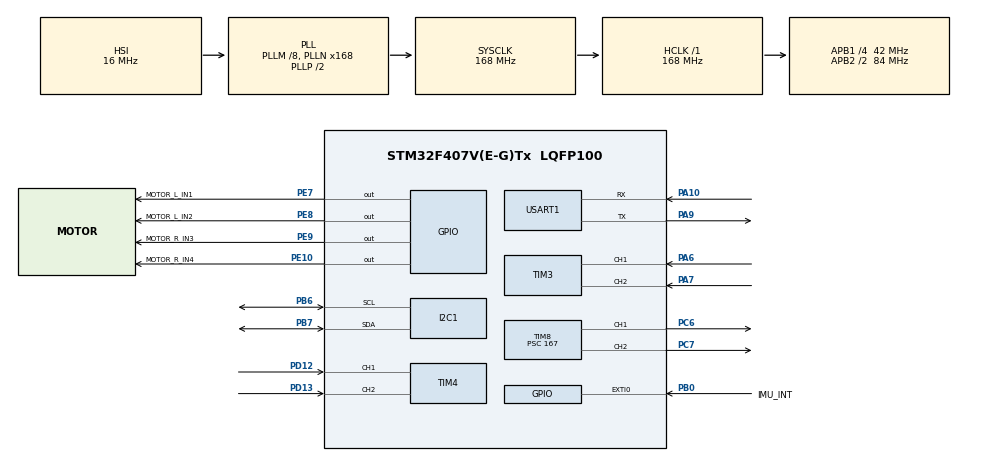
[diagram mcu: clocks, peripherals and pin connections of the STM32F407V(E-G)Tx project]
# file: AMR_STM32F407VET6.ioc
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Dma.Request0=USART1_RX
Dma.Request1=USART1_TX
Dma.USART1_RX.0.Direction=DMA_PERIPH_TO_MEMORY
Dma.USART1_RX.0.FIFOMode=DMA_FIFOMODE_DISABLE
Dma.USART1_RX.0.Instance=DMA2_Stream2
Dma.USART1_RX.0.MemDataAlignment=DMA_MDATAALIGN_BYTE
Dma.USART1_RX.0.MemInc=DMA_MINC_ENABLE
Dma.USART1_RX.0.Mode=DMA_CIRCULAR
Dma.USART1_RX.0.PeriphDataAlignment=DMA_PDATAALIGN_BYTE
Dma.USART1_RX.0.PeriphInc=DMA_PINC_DISABLE
Dma.USART1_RX.0.Priority=DMA_PRIORITY_HIGH
Dma.USART1_TX.1.Direction=DMA_MEMORY_TO_PERIPH
Dma.USART1_TX.1.FIFOMode=DMA_FIFOMODE_DISABLE
Dma.USART1_TX.1.Instance=DMA2_Stream7
Dma.USART1_TX.1.MemDataAlignment=DMA_MDATAALIGN_BYTE
Dma.USART1_TX.1.MemInc=DMA_MINC_ENABLE
Dma.USART1_TX.1.Mode=DMA_NORMAL
Dma.USART1_TX.1.PeriphDataAlignment=DMA_PDATAALIGN_BYTE
Dma.USART1_TX.1.PeriphInc=DMA_PINC_DISABLE
Dma.USART1_TX.1.Priority=DMA_PRIORITY_LOW
FREERTOS.Tasks01=defaultTask,24,3000,StartDefaultTask,Default,NULL,Dynamic,NULL,NULL
FREERTOS.configUSE_NEWLIB_REENTRANT=1
Mcu.Family=STM32F4
Mcu.Name=STM32F407V(E-G)Tx
Mcu.Package=LQFP100
NVIC.DMA2_Stream2_IRQn=true\:5\:0\:false\:false\:true\:true\:false\:true\:true
NVIC.DMA2_Stream7_IRQn=true\:5\:0\:false\:false\:true\:true\:false\:true\:true
NVIC.EXTI0_IRQn=true\:5\:0\:false\:false\:true\:true\:true\:true\:true
NVIC.PriorityGroup=NVIC_PRIORITYGROUP_4
NVIC.TIM6_DAC_IRQn=true\:15\:0\:false\:false\:true\:false\:false\:true\:true
NVIC.TimeBase=TIM6_DAC_IRQn
NVIC.TimeBaseIP=TIM6
NVIC.USART1_IRQn=true\:5\:0\:false\:false\:true\:true\:true\:true\:true
PA10.Mode=Asynchronous
PA10.Signal=USART1_RX
PA13.Mode=Serial_Wire
PA13.Signal=SYS_JTMS-SWDIO
PA14.Mode=Serial_Wire
PA14.Signal=SYS_JTCK-SWCLK
PA6.Signal=S_TIM3_CH1
PA7.Signal=S_TIM3_CH2
PA9.Mode=Asynchronous
PA9.Signal=USART1_TX
PB0.GPIO_Label=IMU_INT
PB0.GPIO_ModeDefaultEXTI=GPIO_MODE_IT_FALLING
PB0.GPIO_PuPd=GPIO_PULLUP
PB0.Signal=GPXTI0
PB6.Mode=I2C
PB6.Signal=I2C1_SCL
PB7.Mode=I2C
PB7.Signal=I2C1_SDA
PC6.Signal=S_TIM8_CH1
PC7.Signal=S_TIM8_CH2
PD12.Signal=S_TIM4_CH1
PD13.Signal=S_TIM4_CH2
PE10.GPIO_Label=MOTOR_R_IN4
PE10.Signal=GPIO_Output
PE7.GPIO_Label=MOTOR_L_IN1
PE7.Signal=GPIO_Output
PE8.GPIO_Label=MOTOR_L_IN2
PE8.Signal=GPIO_Output
PE9.GPIO_Label=MOTOR_R_IN3
PE9.Signal=GPIO_Output
PH0-OSC_IN.Mode=HSE-External-Oscillator
PH0-OSC_IN.Signal=RCC_OSC_IN
PH1-OSC_OUT.Mode=HSE-External-Oscillator
PH1-OSC_OUT.Signal=RCC_OSC_OUT
ProjectManager.HeapSize=0x1000
ProjectManager.StackSize=0x800
ProjectManager.TargetToolchain=STM32CubeIDE
RCC.48MHZClocksFreq_Value=84000000
RCC.AHBFreq_Value=168000000
RCC.APB1CLKDivider=RCC_HCLK_DIV4
RCC.APB1Freq_Value=42000000
RCC.APB1TimFreq_Value=84000000
RCC.APB2CLKDivider=RCC_HCLK_DIV2
RCC.APB2Freq_Value=84000000
RCC.APB2TimFreq_Value=168000000
RCC.CortexFreq_Value=168000000
RCC.HCLKFreq_Value=168000000
RCC.HSE_VALUE=8000000
RCC.HSI_VALUE=16000000
RCC.LSE_VALUE=32768
RCC.PLLM=8
RCC.PLLN=168
RCC.SYSCLKFreq_VALUE=168000000
RCC.SYSCLKSource=RCC_SYSCLKSOURCE_PLLCLK
RCC.VCOOutputFreq_Value=336000000
SH.S_TIM3_CH1.0=TIM3_CH1,Encoder_Interface
SH.S_TIM3_CH2.0=TIM3_CH2,Encoder_Interface
SH.S_TIM4_CH1.0=TIM4_CH1,Encoder_Interface
SH.S_TIM4_CH2.0=TIM4_CH2,Encoder_Interface
SH.S_TIM8_CH1.0=TIM8_CH1,PWM Generation1 CH1
SH.S_TIM8_CH2.0=TIM8_CH2,PWM Generation2 CH2
TIM3.EncoderMode=TIM_ENCODERMODE_TI12
TIM4.EncoderMode=TIM_ENCODERMODE_TI12
TIM8.Channel-PWM\ Generation1\ CH1=TIM_CHANNEL_1
TIM8.Channel-PWM\ Generation2\ CH2=TIM_CHANNEL_2
TIM8.Period=999
TIM8.Prescaler=167
USART1.VirtualMode=VM_ASYNC
VP_FREERTOS_VS_CMSIS_V2.Mode=CMSIS_V2
VP_SYS_VS_tim6.Mode=TIM6
VP_TIM8_VS_ClockSourceINT.Mode=Internal
board=custom

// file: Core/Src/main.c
/* USER CODE BEGIN Header */
/**
  ******************************************************************************
  * @file           : main.c
  * @brief          : Main program body
  ******************************************************************************
  * @attention
  *
  * Copyright (c) 2026 STMicroelectronics.
  * All rights reserved.
  *
  * This software is licensed under terms that can be found in the LICENSE file
  * in the root directory of this software component.
  * If no LICENSE file comes with this software, it is provided AS-IS.
  *
  ******************************************************************************
  */
/* USER CODE END Header */
#include "main.h"
#include "cmsis_os.h"
#include "dma.h"
#include "i2c.h"
#include "tim.h"
#include "usart.h"
#include "gpio.h"

void SystemClock_Config(void);
void MX_FREERTOS_Init(void);

int main(void)
{

  /* MCU Configuration--------------------------------------------------------*/

  /* Reset of all peripherals, Initializes the Flash interface and the Systick. */
  HAL_Init();

  /* Configure the system clock */
  SystemClock_Config();

  /* Initialize all configured peripherals */
  MX_GPIO_Init();
  MX_DMA_Init();
  MX_TIM3_Init();
  MX_TIM4_Init();
  MX_USART1_UART_Init();
  MX_I2C1_Init();
  MX_TIM8_Init();

  /* Init scheduler */
  osKernelInitialize();  /* Call init function for freertos objects (in cmsis_os2.c) */
  MX_FREERTOS_Init();

  /* Start scheduler */
  osKernelStart();

  /* We should never get here as control is now taken by the scheduler */

  /* Infinite loop */
  while (1)
  {

  }
}

void SystemClock_Config(void)
{
  RCC_OscInitTypeDef RCC_OscInitStruct = {0};
  RCC_ClkInitTypeDef RCC_ClkInitStruct = {0};

  /** Configure the main internal regulator output voltage
  */
  __HAL_RCC_PWR_CLK_ENABLE();
  __HAL_PWR_VOLTAGESCALING_CONFIG(PWR_REGULATOR_VOLTAGE_SCALE1);

  /** Initializes the RCC Oscillators according to the specified parameters
  * in the RCC_OscInitTypeDef structure.
  */
  RCC_OscInitStruct.OscillatorType = RCC_OSCILLATORTYPE_HSI;
  RCC_OscInitStruct.HSIState = RCC_HSI_ON;
  RCC_OscInitStruct.HSICalibrationValue = RCC_HSICALIBRATION_DEFAULT;
  RCC_OscInitStruct.PLL.PLLState = RCC_PLL_ON;
  RCC_OscInitStruct.PLL.PLLSource = RCC_PLLSOURCE_HSI;
  RCC_OscInitStruct.PLL.PLLM = 8;
  RCC_OscInitStruct.PLL.PLLN = 168;
  RCC_OscInitStruct.PLL.PLLP = RCC_PLLP_DIV2;
  RCC_OscInitStruct.PLL.PLLQ = 4;
  if (HAL_RCC_OscConfig(&RCC_OscInitStruct) != HAL_OK)
  {
    Error_Handler();
  }

  /** Initializes the CPU, AHB and APB buses clocks
  */
  RCC_ClkInitStruct.ClockType = RCC_CLOCKTYPE_HCLK|RCC_CLOCKTYPE_SYSCLK
                              |RCC_CLOCKTYPE_PCLK1|RCC_CLOCKTYPE_PCLK2;
  RCC_ClkInitStruct.SYSCLKSource = RCC_SYSCLKSOURCE_PLLCLK;
  RCC_ClkInitStruct.AHBCLKDivider = RCC_SYSCLK_DIV1;
  RCC_ClkInitStruct.APB1CLKDivider = RCC_HCLK_DIV4;
  RCC_ClkInitStruct.APB2CLKDivider = RCC_HCLK_DIV2;

  if (HAL_RCC_ClockConfig(&RCC_ClkInitStruct, FLASH_LATENCY_5) != HAL_OK)
  {
    Error_Handler();
  }
}

void HAL_TIM_PeriodElapsedCallback(TIM_HandleTypeDef *htim)
{
  if (htim->Instance == TIM6)
  {
    HAL_IncTick();
  }
}

void Error_Handler(void)
{
  __disable_irq();
  while (1)
  {
  }
}

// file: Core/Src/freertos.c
/* USER CODE BEGIN Header */
/**
  ******************************************************************************
  * File Name          : freertos.c
  * Description        : Code for freertos applications - ROBUST POLLING MODE
  ******************************************************************************
  */
/* USER CODE END Header */

#include "FreeRTOS.h"
#include "task.h"
#include "main.h"
#include "cmsis_os.h"

/* USER CODE BEGIN Includes */
#include <stdio.h>
#include <string.h>
#include "usart.h"
#include "tim.h"
#include "i2c.h"
#include "motor_control.h"
#include "mpu6050.h"
/* USER CODE END Includes */

/* USER CODE BEGIN Variables */
// UART RX Buffer for receiving velocity commands
#define CMD_BUFFER_SIZE 64
uint8_t uart_rx_buffer[CMD_BUFFER_SIZE];
uint8_t uart_rx_index = 0;

// Safety timeout: Stop motors if no command received
#define CMD_TIMEOUT_MS 2000

// MPU6050 IMU data structure
MPU6050_Data imu_data;
uint8_t imu_initialized = 0;  // Flag: 0 = not initialized, 1 = OK

// IMU statistics (for monitoring)
uint32_t imu_read_count = 0;
uint32_t imu_error_count = 0;
/* USER CODE END Variables */
/* Definitions for defaultTask */
osThreadId_t defaultTaskHandle;
const osThreadAttr_t defaultTask_attributes = {
  .name = "defaultTask",
  .stack_size = 3000 * 4,
  .priority = (osPriority_t) osPriorityNormal,
};

void StartDefaultTask(void *argument);

void MX_FREERTOS_Init(void); /* (MISRA C 2004 rule 8.1) */

void MX_FREERTOS_Init(void) {

  /* Create the thread(s) */
  /* creation of defaultTask */
  defaultTaskHandle = osThreadNew(StartDefaultTask, NULL, &defaultTask_attributes);

}

void StartDefaultTask(void *argument)
{
  /* USER CODE BEGIN StartDefaultTask */

  // 1. Start the Encoders
  HAL_TIM_Encoder_Start(&htim3, TIM_CHANNEL_ALL);
  HAL_TIM_Encoder_Start(&htim4, TIM_CHANNEL_ALL);

  // 2. Initialize Motor Control System
  Motor_Init();

  // 3. IMU Initialization with Aggressive Retries
  osDelay(500);

  char debug_msg[80];
  sprintf(debug_msg, "[DEBUG] Starting MPU6050 init...\r\n");
  HAL_UART_Transmit(&huart1, (uint8_t*)debug_msg, strlen(debug_msg), 100);

  // Cek I2C Dasar
  uint8_t who_am_i = 0;
  HAL_I2C_Mem_Read(&hi2c1, MPU6050_ADDR, 0x75, 1, &who_am_i, 1, 100);

  for (int attempt = 0; attempt < 5; attempt++) {
      HAL_StatusTypeDef init_result = MPU6050_Init(&hi2c1);

      if (init_result == HAL_OK) {
          imu_initialized = 1;
          char init_msg[] = "[IMU:OK:POLLING_MODE]\r\n";
          HAL_UART_Transmit(&huart1, (uint8_t*)init_msg, strlen(init_msg), 100);
          break;
      }
      // Jika I2C macet saat inisialisasi, paksa reset hardware I2C
      __HAL_I2C_DISABLE(&hi2c1);
      osDelay(10);
      __HAL_I2C_ENABLE(&hi2c1);

      osDelay(200);
  }

  if (!imu_initialized) {
      char init_msg[] = "[IMU:FAIL]\r\n";
      HAL_UART_Transmit(&huart1, (uint8_t*)init_msg, strlen(init_msg), 100);
  }

  // 4. Start UART RX Interrupt untuk menerima perintah motor dari Raspberry
  HAL_UART_Receive_IT(&huart1, &uart_rx_buffer[uart_rx_index], 1);

  char tx_buffer[128];
  int16_t left_ticks = 0;
  int16_t right_ticks = 0;

  static int16_t prev_left_ticks  = 0;
  static int16_t prev_right_ticks = 0;

  // LOOP UTAMA - BERJALAN TEPAT DI 100Hz (Setiap 10ms)
  for(;;)
  {
	  // A. BACA ENCODER RODA SECARA KONTINU + HITUNG DELTA + JALANKAN PID
	  left_ticks  = (int16_t)__HAL_TIM_GET_COUNTER(&htim4);
	  right_ticks = (int16_t)__HAL_TIM_GET_COUNTER(&htim3);

	  // Compute delta with overflow handling
	  int32_t delta_left  = (int32_t)left_ticks  - (int32_t)prev_left_ticks;
	  int32_t delta_right = (int32_t)right_ticks - (int32_t)prev_right_ticks;
	  if (delta_left  >  32767) delta_left  -= 65536;
	  if (delta_left  < -32768) delta_left  += 65536;
	  if (delta_right >  32767) delta_right -= 65536;
	  if (delta_right < -32768) delta_right += 65536;

	  // Accumulate delta for PID to consume
	  g_encoder_left_delta  += delta_left;
	  g_encoder_right_delta += delta_right;

	  // Store current as previous for next cycle
	  prev_left_ticks  = left_ticks;
	  prev_right_ticks = right_ticks;

	  // Run PID velocity controller (reads g_encoder deltas and outputs PWM)
	  Motor_PID_Update();

      // B. BACA IMU SECARA PAKSA (POLLING) - TANPA PEDULI INTERUPSI
      if (imu_initialized) {
          // Hanya satu transaksi I2C tunggal untuk mencegah kemacetan bus
          if (MPU6050_ReadData(&hi2c1, &imu_data) == HAL_OK) {
              imu_read_count++;
          } else {
              imu_error_count++;
              // Mekanisme Pemulihan Diri: Jika macet, reset I2C secara brutal
              if (imu_error_count > 10) {
                  __HAL_I2C_DISABLE(&hi2c1);
                  osDelay(2);
                  __HAL_I2C_ENABLE(&hi2c1);
                  imu_error_count = 0;
              }
          }
      }

      // C. TELEMETRI KE RASPBERRY PI (Dikirim setiap 5 siklus = 20Hz)
      static uint8_t telemetry_counter = 0;
      telemetry_counter++;

      if (telemetry_counter >= 5) {
          telemetry_counter = 0;
          int len;

          if (imu_initialized) {
              // Konversi ke bilangan bulat agar komunikasi Serial lebih ringan
              int16_t gz_mrad = (int16_t)(imu_data.gyro_z * 1000);
              int16_t ax_cm = (int16_t)(imu_data.accel_x * 100);
              int16_t ay_cm = (int16_t)(imu_data.accel_y * 100);
              int16_t az_cm = (int16_t)(imu_data.accel_z * 100);

              len = sprintf(tx_buffer,
                  "{\"l\":%d,\"r\":%d,\"gz\":%d,\"ax\":%d,\"ay\":%d,\"az\":%d,\"rd\":%lu,\"err\":%lu}\r\n",
                  left_ticks,
                  right_ticks,
                  gz_mrad,
                  ax_cm,
                  ay_cm,
                  az_cm,
                  imu_read_count, // Indikator kesuksesan baca
                  imu_error_count // Indikator kemacetan
              );
          } else {
              len = sprintf(tx_buffer, "{\"l\":%d,\"r\":%d}\r\n", left_ticks, right_ticks);
          }

          if (len > 0) {
              HAL_UART_Transmit(&huart1, (uint8_t*)tx_buffer, len, 10);
          }
      }

      // D. SAFETY TIMEOUT MOTOR
      if (Motor_CheckTimeout(HAL_GetTick(), CMD_TIMEOUT_MS)) {
          Motor_Emergency_Stop();
      }

      // JEDA SIKLUS MUTLAK 10 MILIDETIK (100Hz)
      osDelay(10);
  }
  /* USER CODE END StartDefaultTask */
}

/* USER CODE BEGIN Application */
void HAL_UART_RxCpltCallback(UART_HandleTypeDef *huart)
{
    if (huart->Instance == USART1) {
        uint8_t received_byte = uart_rx_buffer[uart_rx_index];

        if (received_byte == '\n' || received_byte == '\r') {
            if (uart_rx_index == 0) {
                HAL_UART_Receive_IT(&huart1, &uart_rx_buffer[uart_rx_index], 1);
                return;
            }

            uart_rx_buffer[uart_rx_index] = '\0';

            int16_t v_cmd = 0;
            int16_t w_cmd = 0;

            if (sscanf((char*)uart_rx_buffer, "V:%hd,W:%hd", &v_cmd, &w_cmd) == 2) {
                int16_t left_speed = v_cmd - (w_cmd / 2);
                int16_t right_speed = v_cmd + (w_cmd / 2);
                Motor_SetTargetSpeed(left_speed, right_speed);
            }

            uart_rx_index = 0;

        } else {
            uart_rx_index++;
            if (uart_rx_index >= (CMD_BUFFER_SIZE - 1)) {
                uart_rx_index = 0;
            }
        }

        HAL_UART_Receive_IT(&huart1, &uart_rx_buffer[uart_rx_index], 1);
    }
}

void HAL_GPIO_EXTI_Callback(uint16_t GPIO_Pin)
{
    // Tidak melakukan apa-apa.
}
/* USER CODE END Application */
